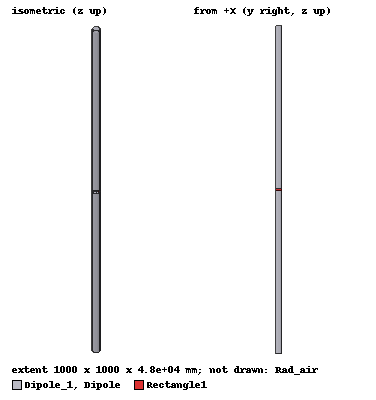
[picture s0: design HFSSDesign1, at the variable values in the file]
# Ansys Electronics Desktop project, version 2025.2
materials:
  vacuum: permittivity=1
  pec: conductivity=1e+30
  air: permittivity=1.0006 permeability=1.0000004

design HFSSDesign1 (HFSS, HFSS Terminal Network, model units mm)
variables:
  lambda = 100m
  length = 0.48*lambda
  gap = 0.24m
  dip_length = length/2-gap/2
  dip_radius = lambda/200
  rad_radiu = dip_radius+lambda/4
  rad_height = dip_length+gap/2+lambda/10
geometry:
  Dipole [pec] = cylinder(axis=Z, base_centre=(0mm, 0mm, gap/2), radius=dip_radius, height=dip_length)
  Dipole_1 [pec] = Dipole.duplicate_around_axis(axis=X, angle=180deg, total=2)
  Rectangle1 = rectangle(corner=(0mm, -dip_radius, -gap/2), y_size=2*dip_radius, z_size=gap)
  Rad_air [air] = cylinder(axis=Z, base_centre=(0mm, 0mm, -rad_height), radius=rad_radiu, height=2*rad_height)
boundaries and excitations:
  Rad1: Radiation Objects=Rad_air
  1: Lumped Port Objects=Rectangle1 LumpedPortType=Modal Modes{Mode1{IntLine{(0, 0, -0.12) -> (0, 0, 0.12)} CharImp=Zpi}} Impedance=73.2ohm
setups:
  Setup1: HfssDriven Frequency=3GHz MaxDeltaS=0.02 MaximumPasses=20 MinimumPasses=1 MinimumConvergedPasses=1 PercentRefinement=30 BasisOrder=1 PortAccuracy=2 DrivenSolverType="Direct Solver"
    sweep Sweep: 2.5GHz to 3.5GHz, 1000 points; Type=Fast SaveFields
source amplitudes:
  1:1: 1V 0deg
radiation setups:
  E_plane: Infinite Sphere Theta=-180deg..180deg step 1deg Phi=0deg..0deg step 0deg
  H_plane: Infinite Sphere Theta=90deg..90deg step 0deg Phi=0deg..360deg step 1deg
  3D_Sphere: Infinite Sphere Theta=0deg..180deg step 1deg Phi=0deg..360deg step 1deg
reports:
  S Parameter Plot1: dB(S(1,1)) vs Freq on Setup1 : Sweep
  VSWR Plot1: VSWR(1) vs Freq on Setup1 : Sweep
  S Parameter Chart1: S(1,1) on Setup1 : Sweep [Freq=all]
  Z Parameter Plot1: re(Z(1,1)), im(Z(1,1)) vs Freq on Setup1 : Sweep
  Gain Plot1: dB(GainTotal) vs Theta on Setup1 : LastAdaptive, E_plane [Phi=all Freq=3GHz]
  Gain Plot2: dB(GainTotal) vs Phi on Setup1 : LastAdaptive, H_plane [Theta=all Freq=3GHz]
  Gain Plot3: dB(GainTotal) vs Phi, Theta on Setup1 : LastAdaptive, 3D_Sphere [Freq=3GHz]
